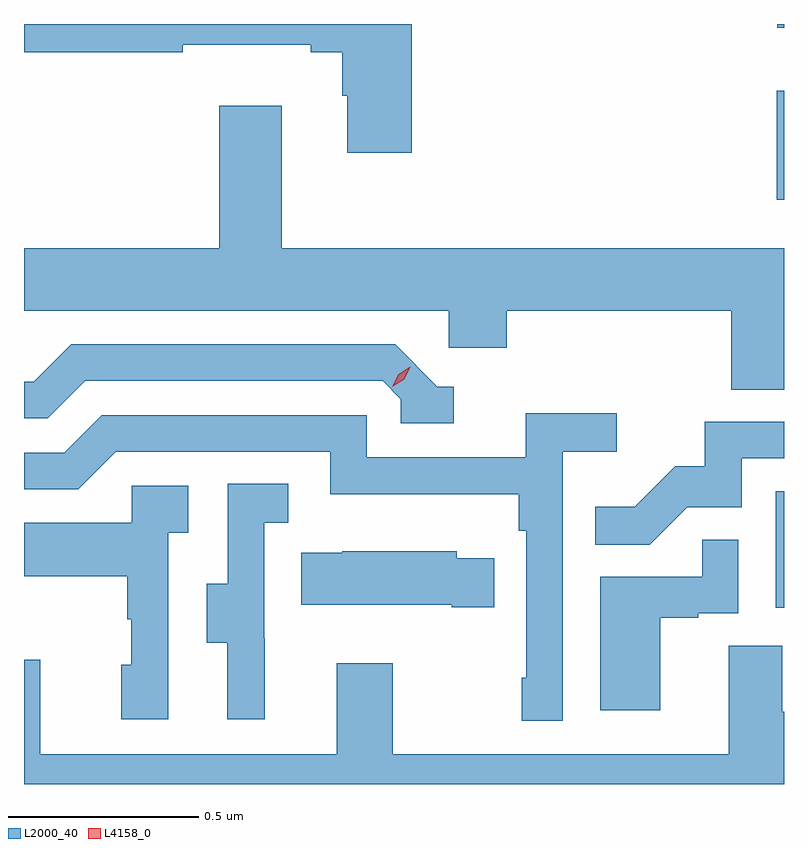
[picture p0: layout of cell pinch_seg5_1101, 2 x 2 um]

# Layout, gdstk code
import gdstk
lib = gdstk.Library(unit=1e-6, precision=1e-09)
def R(c, l, rs):  # rectangles x0, y0, x1, y1
    for r in rs: c.add(gdstk.rectangle(r[:2], r[2:], *l))
def P(c, l, *ps):  # polygons
    for p in ps: c.add(gdstk.Polygon(p, *l))
L2000_40 = (2000, 40)
L4158_0 = (4158, 0)

pinch_seg5_1101 = lib.new_cell('pinch_seg5_1101')
R(pinch_seg5_1101, L2000_40, [(837.8,865.302,837.822,865.609), (837.803,866.376,837.822,866.662), (837.804,866.828,837.822,866.838)])
P(pinch_seg5_1101, L2000_40, [(836.843,866.838),(835.822,866.838),(835.822,866.764),(836.24,866.764),(836.24,866.783),(836.576,866.783),(836.576,866.764),(836.66,866.764),(836.66,866.649),(836.672,866.649),(836.672,866.499),(836.843,866.499)],
  [(837.822,866.248),(836.5,866.248),(836.5,866.623),(836.336,866.623),(836.336,866.248),(835.822,866.248),(835.822,866.084),(836.94,866.084),(836.94,865.986),(837.092,865.986),(837.092,866.084),(837.683,866.084),(837.683,865.876),(837.822,865.876)],
  [(836.953,865.884),(836.91,865.884),(836.799,865.995),(835.946,865.995),(835.847,865.896),(835.822,865.896),(835.822,865.8),(835.884,865.8),(835.983,865.899),(836.766,865.899),(836.814,865.851),(836.814,865.788),(836.953,865.788)],
  [(837.24,865.712),(837.382,865.712),(837.382,865.814),(837.143,865.814),(837.143,865.698),(836.724,865.698),(836.724,865.809),(836.027,865.809),(835.928,865.71),(835.822,865.71),(835.822,865.614),(835.965,865.614),(836.064,865.713),(836.628,865.713),(836.628,865.601),(837.124,865.601),(837.124,865.505),(837.144,865.505),(837.144,865.117),(837.132,865.117),(837.132,865.005),(837.24,865.005)],
  [(837.567,865.566),(837.711,865.566),(837.711,865.695),(837.822,865.695),(837.822,865.791),(837.613,865.791),(837.613,865.674),(837.536,865.674),(837.429,865.567),(837.325,865.567),(837.325,865.468),(837.469,865.468)],
  [(836.456,865.221),(836.454,865.221),(836.454,865.525),(836.518,865.525),(836.518,865.628),(836.358,865.628),(836.358,865.365),(836.303,865.365),(836.303,865.21),(836.357,865.21),(836.357,865.008),(836.456,865.008)],
  [(836.202,865.499),(836.254,865.499),(836.254,865.623),(836.106,865.623),(836.106,865.525),(835.822,865.525),(835.822,865.385),(836.094,865.385),(836.094,865.271),(836.104,865.271),(836.104,865.152),(836.078,865.152),(836.078,865.008),(836.202,865.008)],
  [(837.496,865.275),(837.596,865.275),(837.596,865.287),(837.702,865.287),(837.702,865.481),(837.607,865.481),(837.607,865.383),(837.338,865.383),(837.338,865.032),(837.496,865.032)],
  [(837.059,865.432),(836.961,865.432),(836.961,865.45),(836.659,865.45),(836.659,865.447),(836.551,865.447),(836.551,865.31),(836.948,865.31),(836.948,865.303),(837.059,865.303)],
  [(837.822,865.028),(837.817,865.028),(837.817,865.202),(837.677,865.202),(837.677,864.916),(836.793,864.916),(836.793,865.156),(836.645,865.156),(836.645,864.916),(835.865,864.916),(835.865,865.165),(835.822,865.165),(835.822,864.838),(837.822,864.838)])
P(pinch_seg5_1101, L4158_0, [(836.791,865.884),(836.791,865.884),(836.808,865.916),(836.839,865.936),(836.839,865.936),(836.839,865.936),(836.822,865.903),(836.791,865.884)])

lib.write_gds('pinch_seg5_1101.gds')
